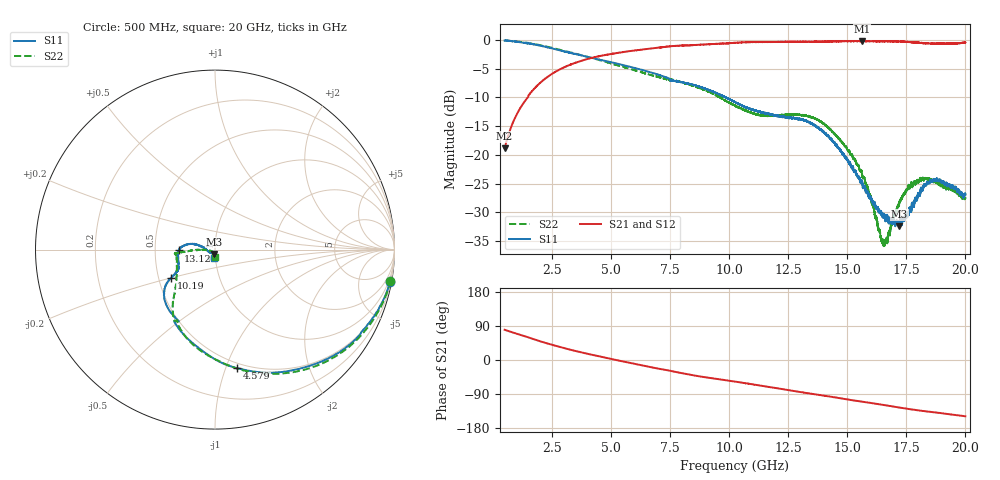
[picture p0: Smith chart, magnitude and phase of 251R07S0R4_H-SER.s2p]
!{201R07S0R4}
!Johanson Technology Inc.
!www.johansontechnology.com
!Test Board Conditions:
!Substrate Type  RO4350B
!Substrate Thickness  10 mil
!Substrate Dk  3.66
!TL Type: GCPW
!TL Trace Width  21 mil
!TL Gap  20 mil
!Electrode orientation  Horizontal
!DUT TOPOLOGY	SERIES
!Mounting Pad LxW  16x21 mil
!Agilent Technologies,N5230A,MY45001966,A.07.50.67
!Agilent N5230A: A.07.50.67
! Created Mon Mar  9 16:15:08 2020
# mhz S ma R 50
! 2 Port Network Data from SP1.SP block
! freq  magS11  angS11  magS21  angS21  magS12  angS12  magS22  angS22
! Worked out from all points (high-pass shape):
!   19501 points, 500 MHz to 20 GHz, reference 50 ohm
!   highest |S21| = -0.14 dB at 15.62 GHz (marker M1); lowest = -18.9 dB at 500 MHz (marker M2)
!   |S21| within 3 dB of the highest: 4.138869 GHz to 4.139183 GHz (314.4 kHz wide, 0.0076 % of centre); 4.147 GHz to end of sweep (the widest 2 of 3)
!   lowest |S11| = -32.5 dB at 17.2 GHz (marker M3), VSWR 1.05, Z = 49.7 - j2.35 ohm
!   |S11| at or under -10 dB: 9.87148 GHz to 9.873253 GHz (1.773 MHz wide, 0.018 % of centre); 9.875 GHz to end of sweep
!   |S22| runs from -35.9 to -0.1 dB; largest |S21 - S12| = 0.014
!   S11 on the Smith chart (normalised r, x): 500 MHz: 0, -11; 4.579 GHz: 0.45, -1.09; 10.19 GHz: 0.58, -0.20; 13.12 GHz: 0.66, -0.01; 20 GHz: 0.99, -0.09
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500  0.9923 -10.4  0.114 79.8  0.1141 79.9  0.9934 -10.3
1005  0.9688 -20.3  0.2235 69.4  0.2234 69.3  0.9744 -20.3
1706  0.9217 -34.4  0.368 55.4  0.3696 55.4  0.929 -34.4
2635  0.8337 -51.0  0.5272 37.9  0.5274 37.9  0.8451 -51.5
3750  0.7357 -68.7  0.6609 19.9  0.6615 20.0  0.7387 -69.1
4579  0.6716 -79.6  0.7296 8.7  0.73 8.6  0.665 -80.9
5900  0.5792 -95.3  0.8063 -8.8  0.8079 -8.9  0.5545 -100.9
7000  0.5003 -111.1  0.8591 -22.6  0.8587 -22.6  0.4766 -114.5
8732  0.3933 -135.6  0.9108 -43.0  0.9121 -43.0  0.3834 -127.9
10190  0.2922 -147.3  0.9464 -56.5  0.9454 -56.5  0.2725 -142.2
10250  0.2883 -147.2  0.946 -57.0  0.9473 -57.0  0.2684 -143.1
11666  0.2271 -153.7  0.9634 -70.9  0.9627 -71.0  0.2196 -169.5
13121  0.2024 -178.7  0.9684 -85.3  0.9633 -85.4  0.2212 -174.0
13500  0.187 175.4  0.9703 -89.3  0.9607 -89.2  0.2131 -174.9
14619  0.1148 165.8  0.9764 -100.2  0.9751 -100.1  0.1402 -177.2
15624  0.05971 174.7  0.9843 -110.0  0.9732 -109.7  0.06663 179.4
16493  0.02949 -140.1  0.977 -118.3  0.9782 -118.0  0.0176 -134.6
16750  0.02584 -120.2  0.977 -120.8  0.9771 -120.7  0.02098 -97.9
17202  0.02382 -96.7  0.9691 -125.4  0.9741 -125.1  0.03775 -77.1
17761  0.03657 -89.8  0.957 -130.7  0.9563 -131.1  0.05272 -82.3
18589  0.05808 -123.6  0.9337 -137.5  0.9326 -137.4  0.05884 -96.3
20000  0.04496 -94.7  0.9535 -148.6  0.9521 -148.6  0.04235 -90.4
